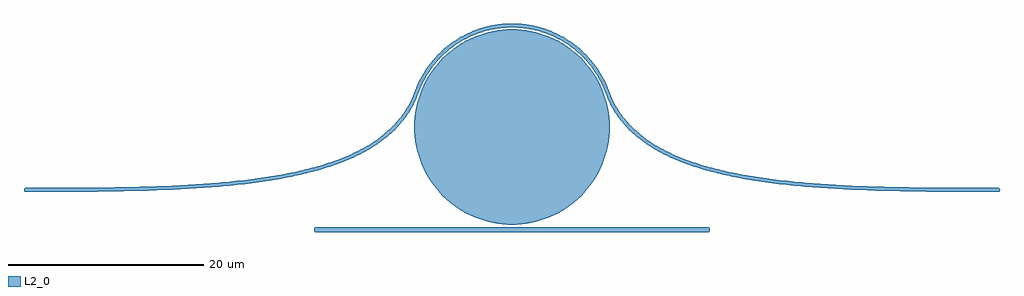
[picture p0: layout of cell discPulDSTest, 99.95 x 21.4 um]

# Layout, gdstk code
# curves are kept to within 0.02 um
import gdstk
lib = gdstk.Library(unit=1e-6, precision=1e-09)
def P(c, l, *ps):  # polygons
    for p in ps: c.add(gdstk.Polygon(p, *l))
L2_0 = (2, 0)

discpuldstest = lib.new_cell('discPulDSTest')
P(discpuldstest, L2_0, [(10,10),(9.02,10.048),(8.049,10.192),(7.097,10.431),(6.173,10.761),(5.286,11.181),(4.444,11.685),(3.656,12.27),(2.929,12.929),(2.27,13.656),(1.685,14.444),(1.181,15.286),(0.761,16.173),(0.431,17.097),(0.192,18.049),(0.048,19.02),(0,20),(0.048,20.98),(0.192,21.951),(0.431,22.903),(0.761,23.827),(1.181,24.714),(1.685,25.556),(2.27,26.344),(2.929,27.071),(3.656,27.73),(4.444,28.315),(5.286,28.819),(6.173,29.239),(7.097,29.569),(8.049,29.808),(9.02,29.952),(10,30),(10.98,29.952),(11.951,29.808),(12.903,29.569),(13.827,29.239),(14.714,28.819),(15.556,28.315),(16.344,27.73),(17.071,27.071),(17.73,26.344),(18.315,25.556),(18.819,24.714),(19.239,23.827),(19.569,22.903),(19.808,21.951),(19.952,20.98),(20,20),(19.952,19.02),(19.808,18.049),(19.569,17.097),(19.239,16.173),(18.819,15.286),(18.315,14.444),(17.73,13.656),(17.071,12.929),(16.344,12.27),(15.556,11.685),(14.714,11.181),(13.827,10.761),(12.903,10.431),(11.951,10.192),(10.98,10.048)],
  [(-39.773,13.357),(-39.773,13.757),(-32.465,13.789),(-27.268,13.896),(-23.16,14.076),(-20.805,14.235),(-18.91,14.401),(-16.016,14.741),(-13.304,15.182),(-12.025,15.444),(-10.798,15.736),(-9.622,16.059),(-8.499,16.416),(-7.433,16.808),(-6.67,17.126),(-5.94,17.465),(-5.02,17.952),(-4.373,18.342),(-3.568,18.896),(-3.006,19.34),(-2.313,19.971),(-1.837,20.474),(-1.399,21.004),(-0.757,21.948),(-0.225,22.972),(0.256,24.173),(0.511,24.725),(0.9,25.436),(1.284,26.032),(1.77,26.681),(2.305,27.29),(2.959,27.924),(3.585,28.439),(4.334,28.959),(5.035,29.365),(5.765,29.717),(6.615,30.045),(7.491,30.299),(8.285,30.46),(9.089,30.561),(10,30.6),(10,30.2),(8.93,30.144),(8.062,30.014),(7.115,29.784),(6.194,29.464),(5.57,29.188),(4.881,28.823),(4.222,28.406),(3.673,28.001),(3.009,27.428),(2.528,26.944),(2.081,26.428),(1.613,25.805),(1.243,25.231),(0.869,24.547),(0.586,23.926),(0.135,22.796),(-0.416,21.738),(-1.082,20.761),(-1.535,20.212),(-2.028,19.691),(-2.558,19.197),(-3.325,18.579),(-3.942,18.145),(-4.82,17.606),(-5.756,17.11),(-6.498,16.765),(-7.272,16.442),(-8.355,16.043),(-9.494,15.68),(-10.687,15.351),(-11.932,15.055),(-13.559,14.728),(-15.253,14.447),(-16.661,14.252),(-19.988,13.901),(-23.924,13.634),(-28.086,13.472),(-33.341,13.38)],
  [(59.773,13.357),(53.341,13.38),(48.086,13.472),(43.924,13.634),(39.988,13.901),(36.661,14.252),(35.253,14.447),(33.559,14.728),(31.932,15.055),(30.687,15.351),(29.494,15.68),(28.355,16.043),(27.272,16.442),(26.498,16.765),(25.756,17.11),(24.82,17.606),(23.942,18.145),(23.325,18.579),(22.558,19.197),(22.028,19.691),(21.535,20.212),(21.082,20.761),(20.416,21.738),(19.865,22.796),(19.414,23.926),(19.131,24.547),(18.757,25.231),(18.387,25.805),(17.919,26.428),(17.472,26.944),(16.991,27.428),(16.327,28.001),(15.778,28.406),(15.119,28.823),(14.43,29.188),(13.806,29.464),(12.885,29.784),(11.938,30.014),(11.07,30.144),(10,30.2),(10,30.6),(10.911,30.561),(11.715,30.46),(12.509,30.299),(13.385,30.045),(14.235,29.717),(14.965,29.365),(15.666,28.959),(16.415,28.439),(17.041,27.924),(17.695,27.29),(18.23,26.681),(18.716,26.032),(19.1,25.436),(19.489,24.725),(19.744,24.173),(20.225,22.972),(20.757,21.948),(21.399,21.004),(21.837,20.474),(22.313,19.971),(23.006,19.34),(23.568,18.896),(24.373,18.342),(25.02,17.952),(25.94,17.465),(26.67,17.126),(27.433,16.808),(28.499,16.416),(29.622,16.059),(30.798,15.736),(32.025,15.444),(33.304,15.182),(36.016,14.741),(38.91,14.401),(40.805,14.235),(43.16,14.076),(47.268,13.896),(52.465,13.789),(59.773,13.757)],
  [(-10,9.2),(-10.107,9.222),(-10.194,9.281),(-10.253,9.368),(-10.275,9.475),(-10.253,9.582),(-10.194,9.669),(-10.107,9.728),(-10,9.75),(30,9.75),(30.107,9.728),(30.194,9.669),(30.253,9.582),(30.275,9.475),(30.253,9.368),(30.194,9.281),(30.107,9.222),(30,9.2)],
  [(59.773,13.357),(59.773,13.757),(59.851,13.741),(59.914,13.698),(59.957,13.635),(59.973,13.557),(59.957,13.479),(59.914,13.416),(59.851,13.373)],
  [(-39.773,13.357),(-39.851,13.373),(-39.914,13.416),(-39.957,13.479),(-39.973,13.557),(-39.957,13.635),(-39.914,13.698),(-39.851,13.741),(-39.773,13.757)])

lib.write_gds('discPulDSTest.gds')
